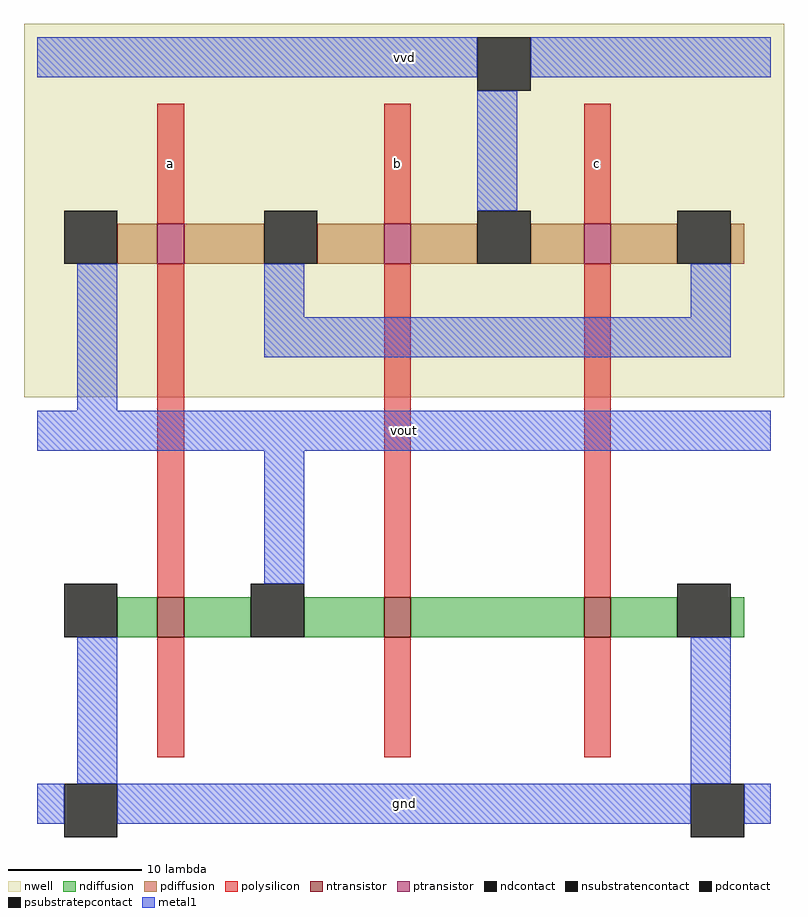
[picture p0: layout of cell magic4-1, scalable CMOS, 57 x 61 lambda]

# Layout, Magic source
magic
tech scmos
<< nwell >>
rect -28 -17 29 11
<< polysilicon >>
rect -18 -4 -16 5
rect -1 -4 1 5
rect 14 -4 16 5
rect -18 -32 -16 -7
rect -1 -32 1 -7
rect 14 -32 16 -7
rect -18 -44 -16 -35
rect -1 -44 1 -35
rect 14 -44 16 -35
<< ndiffusion >>
rect -21 -35 -18 -32
rect -16 -35 -11 -32
rect -7 -35 -1 -32
rect 1 -35 14 -32
rect 16 -35 21 -32
rect 25 -35 26 -32
<< pdiffusion >>
rect -21 -7 -18 -4
rect -16 -7 -10 -4
rect -6 -7 -1 -4
rect 1 -7 6 -4
rect 10 -7 14 -4
rect 16 -7 21 -4
rect 25 -7 26 -4
<< metal1 >>
rect -27 7 6 10
rect 10 7 28 10
rect 6 -3 9 6
rect -24 -18 -21 -7
rect -10 -11 -7 -7
rect 22 -11 25 -7
rect -10 -14 25 -11
rect -27 -21 28 -18
rect -10 -31 -7 -21
rect -24 -46 -21 -35
rect 22 -46 25 -35
rect -27 -49 -25 -46
rect -21 -49 22 -46
rect 26 -49 28 -46
<< ntransistor >>
rect -18 -35 -16 -32
rect -1 -35 1 -32
rect 14 -35 16 -32
<< ptransistor >>
rect -18 -7 -16 -4
rect -1 -7 1 -4
rect 14 -7 16 -4
<< ndcontact >>
rect -25 -35 -21 -31
rect -11 -35 -7 -31
rect 21 -35 25 -31
<< pdcontact >>
rect -25 -7 -21 -3
rect -10 -7 -6 -3
rect 6 -7 10 -3
rect 21 -7 25 -3
<< psubstratepcontact >>
rect -25 -50 -21 -46
rect 22 -50 26 -46
<< nsubstratencontact >>
rect 6 6 10 10
<< labels >>
rlabel metal1 -27 -21 28 -18 7 vout
rlabel metal1 -27 -21 28 -18 7 out
rlabel metal1 -27 7 28 10 7 vvd
rlabel metal1 -27 -49 28 -46 7 gnd
rlabel polysilicon -18 -4 -16 5 1 a
rlabel polysilicon -1 -4 1 5 1 b
rlabel polysilicon 14 -4 16 5 1 c
<< end >>
